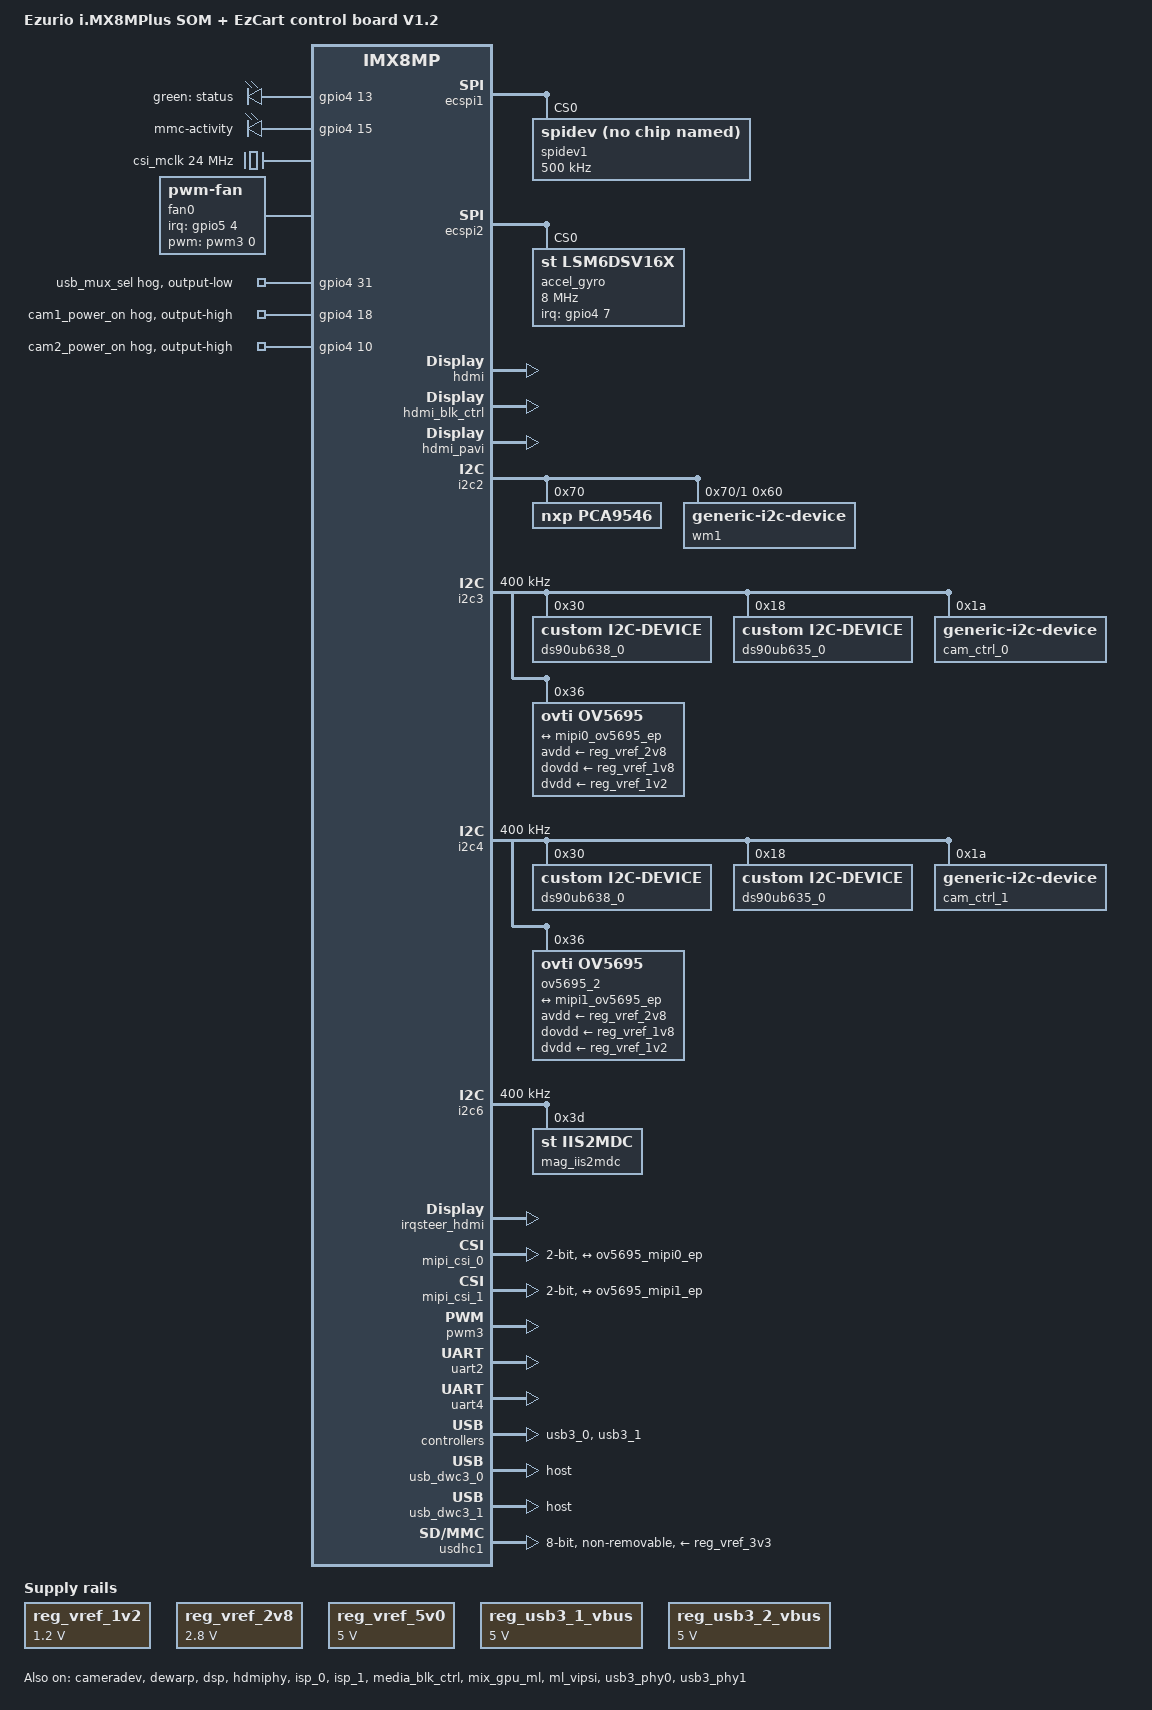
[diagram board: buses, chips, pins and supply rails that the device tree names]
// SPDX-License-Identifier: (GPL-2.0+ OR MIT)
/*
 * Device Tree file for Boundary Devices Nitrogen8MP SOM
 * installed on Cartzy Control Board V2.0 (EzCart V1.0)
 *
 * @author Nikita Bulaev agency@grovety.com
 */

/dts-v1/;

#include <dt-bindings/interconnect/ti,ds90ub635.h>
#include <dt-bindings/interconnect/ti,ds90ub638.h>

#include <dt-bindings/phy/phy-imx8-pcie.h>
#include <dt-bindings/pwm/pwm.h>
#include <dt-bindings/usb/pd.h>
#include "imx8mp-nitrogen8mp-som.dtsi"

&iomuxc {
	pinctrl-names = "default";
	pinctrl-0 = <&pinctrl_hog>;

	pinctrl_gpio_led: gpioledgrp {
		fsl,pins = <
		/* These pins controled by gpio-leds */
		MX8MP_IOMUXC_SAI1_TXD1__GPIO4_IO13    0x140 /* GREEN CPU LED1 */
		MX8MP_IOMUXC_SAI1_TXD3__GPIO4_IO15	  0x140 /* RED CPU LED3 */

		/* These pins controled by gpio-keys */
#define GP_CPU_LED_BLUE	<&gpio4 14 GPIO_ACTIVE_HIGH>
		MX8MP_IOMUXC_SAI1_TXD2__GPIO4_IO14	  0x100 /* Blue CPU LED2 */
		>;
	};

	pinctrl_ecspi1: ecspi1grp {
		fsl,pins = <
			MX8MP_IOMUXC_ECSPI1_SCLK__ECSPI1_SCLK	0x140
			MX8MP_IOMUXC_ECSPI1_MOSI__ECSPI1_MOSI	0x140
			MX8MP_IOMUXC_ECSPI1_MISO__ECSPI1_MISO	0x140
#define GP_ECSPI1_CS	<&gpio5 9 GPIO_ACTIVE_LOW>
			MX8MP_IOMUXC_ECSPI1_SS0__GPIO5_IO09	0x143
		>;
	};

	pinctrl_ecspi2: ecspi2grp {
		fsl,pins = <
			/* J31 */
			MX8MP_IOMUXC_ECSPI2_SCLK__ECSPI2_SCLK		0x82	/* Pin 20 */
			MX8MP_IOMUXC_ECSPI2_MOSI__ECSPI2_MOSI		0x82	/* Pin 10 */
			MX8MP_IOMUXC_ECSPI2_MISO__ECSPI2_MISO		0x82	/* Pin 8 */
#define GP_ECSPI2_CS	<&gpio5 13 GPIO_ACTIVE_LOW>
			MX8MP_IOMUXC_ECSPI2_SS0__GPIO5_IO13		0x143	/* Pin 6 */
#define GP_LSM6DSV_INT1	<&gpio4 7 GPIO_ACTIVE_HIGH>
			MX8MP_IOMUXC_SAI1_RXD5__GPIO4_IO07		0x80	/* LSM6DSV INT1 */
#define GP_LSM6DSV_INT2	<&gpio4 8 GPIO_ACTIVE_HIGH>
			MX8MP_IOMUXC_SAI1_RXD6__GPIO4_IO08		0x80	/* LSM6DSV INT2 */
		>;
	};

	pinctrl_hog: hoggrp {
		fsl,pins = <
			MX8MP_IOMUXC_HDMI_DDC_SCL__HDMIMIX_HDMI_SCL	0x400001c3
			MX8MP_IOMUXC_HDMI_DDC_SDA__HDMIMIX_HDMI_SDA	0x400001c3
			MX8MP_IOMUXC_HDMI_HPD__HDMIMIX_HDMI_HPD		0x40000019
			MX8MP_IOMUXC_HDMI_CEC__HDMIMIX_HDMI_CEC		0x40000019
			MX8MP_IOMUXC_NAND_DATA01__GPIO3_IO07		0x119
			/* J31 */
			MX8MP_IOMUXC_SPDIF_EXT_CLK__GPIO5_IO05	0x41	/* Pin 19 */
			MX8MP_IOMUXC_SAI1_MCLK__GPIO4_IO20		0x16	/* Pin 2 */
			/*MX8MP_IOMUXC_SAI1_TXD7__GPIO4_IO19		0x1c4*/	/* Pin 4 */

#define WM_RESET_CTRL	<&gpio4 16 GPIO_ACTIVE_HIGH>
			MX8MP_IOMUXC_SAI1_TXD4__GPIO4_IO16	0x100

#define CAM1_POWER_ON	<&gpio4 18 GPIO_ACTIVE_HIGH>
			MX8MP_IOMUXC_SAI1_TXD6__GPIO4_IO18	0x106

#define CAM2_POWER_ON	<&gpio4 10 GPIO_ACTIVE_HIGH>
			MX8MP_IOMUXC_SAI1_TXFS__GPIO4_IO10	0x106
		>;
	};

	pinctrl_pwm3: pwm3grp {
		fsl,pins = <
			/* J5_55, Fan PWM speed control */
			MX8MP_IOMUXC_SPDIF_TX__PWM3_OUT	0x116
		>;
	};

	pinctrl_fan_tach: fantachgrp {
		fsl,pins = <
			/* J5_57, Fan tachometer input, pull-up, IRQ */
			MX8MP_IOMUXC_SPDIF_RX__GPIO5_IO04	0x80
		>;
	};

	pinctrl_i2c6: i2c6grp {
		fsl,pins = <
			MX8MP_IOMUXC_SAI5_RXFS__I2C6_SCL  0x400001c3
			MX8MP_IOMUXC_SAI5_RXC__I2C6_SDA	  0x400001c3
		>;
	};

	pinctrl_pwm4: pwm4grp {
		fsl,pins = <
			/* J31, pin 36 - SAI5_RXFS reassigned to I2C6 */
		>;
	};

	pinctrl_usb3_1: usb3-1-pins {
		fsl,pins = <
		/* USB3_1_PWR_EN: output, pull-up (drives U10 EN on the carrier) */
#define USB3_1_PWR_EN	<&gpio4 30 GPIO_ACTIVE_HIGH>
			MX8MP_IOMUXC_SAI3_RXD__GPIO4_IO30	0x106

		/* USB3_1_FAULT: input, pulled up by external resistor, falling-edge */
#define USB3_1_FAULT	<&gpio4 29 IRQ_TYPE_LEVEL_LOW>
		MX8MP_IOMUXC_SAI3_RXC__GPIO4_IO29	0x006

		/* USB2.0 MUX select (TS3USB221A): LOW = host path to J15.1
		 * (D <-> 1D), HIGH = USB-boot path to J3 (D <-> 2D). Held LOW
		 * by a gpio-hog under &gpio4.
		 */
#define USB_MUX_SEL	<&gpio4 31 GPIO_ACTIVE_HIGH>
		MX8MP_IOMUXC_SAI3_TXFS__GPIO4_IO31	0x106

		/* Force pad into GPIO mode (ALT0). On this board the same pad
		 * is wired to the camera deserializer (CAM1_GPIO2). If left in
		 * the ALT1=USB1_OC routing inherited from boot defaults, the
		 * controller latches a spurious over-current condition shortly
		 * after probe and locks both root-hub ports of usb_dwc3_0.
		 * The TOF pinctrl group sets the same alt but is applied too
		 * late (after xHCI init); applying it here forces it early.
		 */
		MX8MP_IOMUXC_GPIO1_IO13__GPIO1_IO13	0x106
		>;
	};

	pinctrl_usb3_2: usb3-2-pins {
		fsl,pins = <
		/* USB3_2_PWR_EN: output, pull-up (drives U12 EN on the carrier) */
#define USB3_2_PWR_EN	<&gpio1 9 GPIO_ACTIVE_HIGH>
			MX8MP_IOMUXC_GPIO1_IO09__GPIO1_IO09	0x106

		/* USB3_2_FAULT: input, pulled up by external resistor, falling-edge */
#define USB3_2_FAULT	<&gpio4 19 IRQ_TYPE_LEVEL_LOW>
		MX8MP_IOMUXC_SAI1_TXD7__GPIO4_IO19	0x006

		/* Force pad into GPIO mode (ALT0). Same pad is wired to the
		 * camera deserializer LOCK signal (CAM1_LOCK); leaving it in
		 * the ALT1=USB2_OC routing would feed deserializer transitions
		 * into the USB OC input and trip the controller.
		 */
		MX8MP_IOMUXC_GPIO1_IO15__GPIO1_IO15	0x106
		>;
	};

	pinctrl_uart2: uart2grp {
		fsl,pins = <
			MX8MP_IOMUXC_UART2_RXD__UART2_DCE_RX	0x140
			MX8MP_IOMUXC_UART2_TXD__UART2_DCE_TX	0x140
		>;
	};

	pinctrl_uart4: uart4grp {
		fsl,pins = <
			MX8MP_IOMUXC_UART4_RXD__UART4_DCE_RX	0x140
			MX8MP_IOMUXC_UART4_TXD__UART4_DCE_TX	0x140
		>;
	};

	pinctrl_usdhc1: usdhc1grp {
		fsl,pins = <
		MX8MP_IOMUXC_SD1_CLK__USDHC1_CLK    0x190
		MX8MP_IOMUXC_SD1_CMD__USDHC1_CMD    0x1d0
		MX8MP_IOMUXC_SD1_DATA0__USDHC1_DATA0    0x1d0
		MX8MP_IOMUXC_SD1_DATA1__USDHC1_DATA1    0x1d0
		MX8MP_IOMUXC_SD1_DATA2__USDHC1_DATA2    0x1d0
		MX8MP_IOMUXC_SD1_DATA3__USDHC1_DATA3    0x1d0
		MX8MP_IOMUXC_SD1_DATA4__USDHC1_DATA4    0x1d0
		MX8MP_IOMUXC_SD1_DATA5__USDHC1_DATA5    0x1d0
		MX8MP_IOMUXC_SD1_DATA6__USDHC1_DATA6    0x1d0
		MX8MP_IOMUXC_SD1_DATA7__USDHC1_DATA7    0x1d0
		/*MX8MP_IOMUXC_GPIO1_IO03__USDHC1_VSELECT    0x116*/
		MX8MP_IOMUXC_SD1_STROBE__USDHC1_STROBE    0x10
		MX8MP_IOMUXC_SD1_RESET_B__USDHC1_RESET_B 0x140
		>;
	};

	pinctrl_usdhc1_100mhz: usdhc1grp-100mhz {
		fsl,pins = <
		MX8MP_IOMUXC_SD1_CLK__USDHC1_CLK    0x194
		MX8MP_IOMUXC_SD1_CMD__USDHC1_CMD    0x1d4
		MX8MP_IOMUXC_SD1_DATA0__USDHC1_DATA0    0x1d4
		MX8MP_IOMUXC_SD1_DATA1__USDHC1_DATA1    0x1d4
		MX8MP_IOMUXC_SD1_DATA2__USDHC1_DATA2    0x1d4
		MX8MP_IOMUXC_SD1_DATA3__USDHC1_DATA3    0x1d4
		MX8MP_IOMUXC_SD1_DATA4__USDHC1_DATA4    0x1d4
		MX8MP_IOMUXC_SD1_DATA5__USDHC1_DATA5    0x1d4
		MX8MP_IOMUXC_SD1_DATA6__USDHC1_DATA6    0x1d4
		MX8MP_IOMUXC_SD1_DATA7__USDHC1_DATA7    0x1d4
		MX8MP_IOMUXC_SD1_STROBE__USDHC1_STROBE  0x14
		>;
	};

	pinctrl_usdhc1_200mhz: usdhc1grp-200mhz {
		fsl,pins = <
		MX8MP_IOMUXC_SD1_CLK__USDHC1_CLK    0x196
		MX8MP_IOMUXC_SD1_CMD__USDHC1_CMD    0x1d6
		MX8MP_IOMUXC_SD1_DATA0__USDHC1_DATA0    0x1d6
		MX8MP_IOMUXC_SD1_DATA1__USDHC1_DATA1    0x1d6
		MX8MP_IOMUXC_SD1_DATA2__USDHC1_DATA2    0x1d6
		MX8MP_IOMUXC_SD1_DATA3__USDHC1_DATA3    0x1d6
		MX8MP_IOMUXC_SD1_DATA4__USDHC1_DATA4    0x1d6
		MX8MP_IOMUXC_SD1_DATA5__USDHC1_DATA5    0x1d6
		MX8MP_IOMUXC_SD1_DATA6__USDHC1_DATA6    0x1d6
		MX8MP_IOMUXC_SD1_DATA7__USDHC1_DATA7    0x1d6
		MX8MP_IOMUXC_SD1_STROBE__USDHC1_STROBE  0x12
		>;
	};

	/* GPIO pins for camera #1 */
	pinctrl_i2c3_ov5695_mipi: i2c3-ov5695-mipigrp {
		/* Camera 1 RESET GPIO3 */
		cam1_reset_open_drain: cam1_reset_open_drain {
			fsl,pins = <
#define GP_CAMERA1_RESET    <&gpio1 7 (GPIO_ACTIVE_HIGH | GPIO_OPEN_DRAIN)>
			MX8MP_IOMUXC_GPIO1_IO07__GPIO1_IO07    0x030 /* OpenDrain output */
			>;
        	drive-open-source; /* Also force open source */
    	};
	};

	/* GPIO pins for camera #2 */
	pinctrl_i2c4_ov5695_mipi: i2c4-ov5695-mipigrp {
	/* Camera 2 RESET GPIO3 */
		cam2_reset_open_drain: cam2_reset_open_drain {
			fsl,pins = <
#define GP_CAMERA2_RESET    <&gpio1 14 (GPIO_ACTIVE_HIGH | GPIO_OPEN_DRAIN)>
			MX8MP_IOMUXC_GPIO1_IO14__GPIO1_IO14    0x030 /* OpenDrain output */
			>;
			drive-open-source; /* Also force open source */
		};
	};

	pinctrl_ds90ub638_1: ds90ub638_grp_1 {
		fsl,pins = <
#define DS90UB638_1_LOCK    <&gpio1 15 IRQ_TYPE_LEVEL_HIGH>
		MX8MP_IOMUXC_GPIO1_IO15__GPIO1_IO15    0x106

#define DS90UB638_1_PASS    <&gpio1 11 IRQ_TYPE_LEVEL_HIGH>
		MX8MP_IOMUXC_GPIO1_IO11__GPIO1_IO11    0x106
		>;
	};

	pinctrl_ds90ub638_2: ds90ub638_grp_2 {
		fsl,pins = <
#define DS90UB638_2_LOCK    <&gpio1 1 IRQ_TYPE_LEVEL_HIGH>
		MX8MP_IOMUXC_GPIO1_IO01__GPIO1_IO01    0x106

#define DS90UB638_2_PASS    <&gpio1 12 IRQ_TYPE_LEVEL_HIGH>
		MX8MP_IOMUXC_GPIO1_IO12__GPIO1_IO12    0x106
		>;
	};

	pinctrl_i2c3_tof: i2c3_tofgrp {
		fsl,pins = <
		/* TOF 1/2 INT - Input, trigger on falling GPIO0 */
#define GP_TOF_DATA_RDY_1_2	<&gpio1 4 IRQ_TYPE_LEVEL_LOW>
		MX8MP_IOMUXC_GPIO1_IO04__GPIO1_IO04	0x166

		/* TOF 1/2 MD INT - Input, trigger on falling GPIO1 */
#define GP_TOF_MD1	<&gpio1 10 IRQ_TYPE_LEVEL_LOW>
		MX8MP_IOMUXC_GPIO1_IO10__GPIO1_IO10	0x166

		/* TOF 1/2 SYNC GPIO2 */
#define GP_TOF_SYNC1  <&gpio1 13 GPIO_ACTIVE_HIGH>
		MX8MP_IOMUXC_GPIO1_IO13__GPIO1_IO13	0x106
		>;
	};

	pinctrl_i2c4_tof: i2c4_tofgrp {
		fsl,pins = <
		/* TOF 3/4 INT - Input, trigger on falling GPIO0 */
#define GP_TOF_DATA_RDY_3_4	<&gpio1 5 IRQ_TYPE_LEVEL_LOW>
		MX8MP_IOMUXC_GPIO1_IO05__GPIO1_IO05	0x166

		/* TOF 3/4 MD GPIO1 */
#define GP_TOF_MD2	<&gpio1 6 IRQ_TYPE_LEVEL_LOW>
		MX8MP_IOMUXC_GPIO1_IO06__GPIO1_IO06	0x166

		/* TOF 3 SYNC GPIO2 */
#define GP_TOF_SYNC2	<&gpio1 8 GPIO_ACTIVE_HIGH>
		MX8MP_IOMUXC_GPIO1_IO08__GPIO1_IO08	0x106
		>;
	};

	/* GPIOS P2 header */
	pinctrl_gpios_p2: gpios_p2grp {
		/* All pins are set to OUTPUT Pull-Down */
		fsl,pins = <
#define GPIOS_P2_PIN1 <&gpio4 27 GPIO_ACTIVE_HIGH>
		MX8MP_IOMUXC_SAI2_MCLK__GPIO4_IO27 0x106

#define GPIOS_P2_PIN2 <&gpio4 22 GPIO_ACTIVE_HIGH>
		MX8MP_IOMUXC_SAI2_RXC__GPIO4_IO22 0x106

#define GPIOS_P2_PIN3 <&gpio4 23 GPIO_ACTIVE_HIGH>
		MX8MP_IOMUXC_SAI2_RXD0__GPIO4_IO23 0x106

#define GPIOS_P2_PIN4 <&gpio4 26 GPIO_ACTIVE_HIGH>
		MX8MP_IOMUXC_SAI2_TXD0__GPIO4_IO26 0x106

#define GPIOS_P2_PIN5 <&gpio4 25 GPIO_ACTIVE_HIGH>
		MX8MP_IOMUXC_SAI2_TXC__GPIO4_IO25 0x106

#define GPIOS_P2_PIN6 <&gpio4 21 GPIO_ACTIVE_HIGH>
		MX8MP_IOMUXC_SAI2_RXFS__GPIO4_IO21 0x106

#define GPIOS_P2_PIN7 <&gpio4 28 GPIO_ACTIVE_HIGH>
		MX8MP_IOMUXC_SAI3_RXFS__GPIO4_IO28 0x106

#define GPIOS_P2_PIN8 <&gpio4 24 GPIO_ACTIVE_HIGH>
		MX8MP_IOMUXC_SAI2_TXFS__GPIO4_IO24 0x106
		>;
	};
};

/ {
	model = "Ezurio i.MX8MPlus SOM + EzCart control board V1.2";
	compatible = "fsl,imx8mp-custom-board", "boundary,imx8mp-nitrogen8mp", "fsl,imx8mp";

	chosen {
		stdout-path = &uart2;
	};

	gpio-leds {
		compatible = "gpio-leds";
		pinctrl-names = "default";
		pinctrl-0 = <&pinctrl_gpio_led>;

		status {
			label = "green: status";
			gpios = <&gpio4 13 GPIO_ACTIVE_HIGH>;
			default-state = "on";
			linux,default-trigger = "heartbeat";
		};

		activity_led {
			label = "mmc-activity";
			gpios = <&gpio4 15 GPIO_ACTIVE_HIGH>;
			linux,default-trigger = "mmc2";
		};
	};

	gpio_keys: gpio-keys {
		compatible = "gpio-keys";
		pinctrl-names = "default";
	};

	sound_hdmi: sound-hdmi {
		compatible = "fsl,imx-audio-hdmi";
		model = "audio-hdmi";
		audio-cpu = <&aud2htx>;
		hdmi-out;
		constraint-rate = <44100>,
				<88200>,
				<176400>,
				<32000>,
				<48000>,
				<96000>,
				<192000>;
		status = "disabled";
	};

	sound-wm8960 {
		status = "disabled";
	};

	csi_mclk: csi-mclk {
		compatible = "fixed-clock";
		#clock-cells = <0>;
		clock-frequency = <24000000>;
		clock-output-names = "csi_mclk";
		status = "okay";
	};

	reg_vref_1v2: regulator-vref-1v2 {
		compatible = "regulator-fixed";
		regulator-name = "vref-1v2";
		regulator-min-microvolt = <1200000>;
		regulator-max-microvolt = <1200000>;
	};

	reg_vref_2v8: regulator-vref-2v8 {
		compatible = "regulator-fixed";
		regulator-name = "vref-2v8";
		regulator-min-microvolt = <2800000>;
		regulator-max-microvolt = <2800000>;
	};

	reg_vref_5v0: regulator-vref-5v0 {
		compatible = "regulator-fixed";
		regulator-name = "vref-5v0";
		regulator-min-microvolt = <5000000>;
		regulator-max-microvolt = <5000000>;
	};

	reg_usb3_1_vbus: regulator-usb3_1-vbus {
		compatible = "regulator-fixed";
		regulator-name = "usb3_1_vbus";
		regulator-min-microvolt = <5000000>;
		regulator-max-microvolt = <5000000>;
		gpio = USB3_1_PWR_EN;
		enable-active-high;
		regulator-always-on;
	};

	reg_usb3_2_vbus: regulator-usb3_2-vbus {
		compatible = "regulator-fixed";
		regulator-name = "usb3_2_vbus";
		regulator-min-microvolt = <5000000>;
		regulator-max-microvolt = <5000000>;
		gpio = USB3_2_PWR_EN;
		enable-active-high;
		regulator-always-on;
	};

	fan0: pwm-fan {
		compatible = "pwm-fan";
		pinctrl-names = "default";
		pinctrl-0 = <&pinctrl_fan_tach>;
		#cooling-cells = <2>;
		/* 25 kHz PWM for 4-pin CPU fan */
		pwms = <&pwm3 0 40000 PWM_POLARITY_INVERTED>;
		cooling-levels = <0 64 128 192 255>;
		pulses-per-revolution = <2>;
		interrupt-parent = <&gpio5>;
		interrupts = <4 IRQ_TYPE_EDGE_FALLING>;
		status = "okay";
	};
};

&aud2htx {
	status = "disabled";
};

&cameradev {
	status = "okay";
};

&isi_0 {
	status = "disabled";

	m2m_device {
		status = "disabled";
	};
};

&isi_1 {
	status = "disabled";
};

&dewarp {
	status = "okay";
};

&dsp {
	status = "okay";
};

&easrc {
	status = "disabled";
};

&ecspi1 {
	#address-cells = <1>;
	#size-cells = <0>;
	fsl,spi-num-chipselects = <1>;
	pinctrl-names = "default";
	pinctrl-0 = <&pinctrl_ecspi1>;
	cs-gpios = GP_ECSPI1_CS;
	status = "okay";

	spidev1: spi@0 {
		compatible = "spidev";
		reg = <0>;
		spi-max-frequency = <500000>;
	};
};

&ecspi2 {
	#address-cells = <1>;
	#size-cells = <0>;
	fsl,spi-num-chipselects = <1>;
	pinctrl-names = "default";
	pinctrl-0 = <&pinctrl_ecspi2>;
	cs-gpios = GP_ECSPI2_CS;
	status = "okay";

	accel_gyro@0 {
		compatible = "st,lsm6dsv16x", "st,lsm6dsv";
		reg = <0>;
		spi-max-frequency = <8000000>;
		interrupt-parent = <&gpio4>;
		interrupts = <7 IRQ_TYPE_LEVEL_HIGH>, <8 IRQ_TYPE_LEVEL_HIGH>;
		st,drdy-int-pin = <1>;
	};
};

&fec {
	status = "disabled";
};

&eqos {
	status = "disabled";
};

&flexcan1 {
	status = "disabled";
};

&flexcan2 {
	status = "disabled";
};

&hdmi {
	status = "okay";
};

&hdmiphy {
	status = "okay";
};

&hdmi_blk_ctrl {
	status = "okay";
};

&hdmi_pavi {
	status = "okay";
};

&gpio1 {
	gpio-line-names = "",            "CAM2.LOCK",    "WDOG",         "",           /* 0-3 */
					  "TOF.1-2.RDY", "TOF.3-4.RDY",  "TOF.3-4.MD",  "CAM1.RST",    /* 4-7 */
					  "TOF.3-4.SYNC","USB2.PWR.EN",  "TOF.1-2.MD",  "CAM1.PASS",   /* 8-11 */
					  "CAM2.PASS",   "TOF.1-2.SYNC", "CAM2.RST",    "CAM1.LOCK",   /* 12-15 */
					  "",            "",             "",             "",           /* 16-19 */
					  "",            "",             "",             "",           /* 20-23 */
					  "",            "",             "",             "",           /* 24-27 */
					  "",            "",             "",             "",           /* 28-31 */
					  "",            "",             "",             "";           /* 32-35 */
};

&gpio3 {
	gpio-line-names = "",         "",         "",             "",             /* 0-3 */
					  "",         "",         "",             "",             /* 4-7 */
					  "",         "",         "",             "",             /* 8-11 */
					  "",         "",         "",             "",             /* 12-15 */
					  "",         "",         "",             "I2C6.SCL",     /* 16-19 */
					  "I2C6.SDA", "",         "",             "",             /* 20-23 */
					  "",         "",         "HDMI.DDC.SCL", "HDMI.DDC.SDA", /* 24-27 */
					  "HDMI.CEC", "HDMI.HPD", "",             "",             /* 28-31 */
					  "",         "",         "",             "";             /* 32-35 */
};

&gpio4 {
	gpio-line-names = "",          "",              "",             "",            /* 0-3 */
					  "",          "",              "",             "ACC.INT1",    /* 4-7 */
					  "ACC.INT2",  "",              "CAM2.PWR.ON",  "",            /* 8-11 */
					  "BAT.RESET", "CPU.LED.GREEN", "CPU.LED.BLUE", "CPU.LED.RED", /* 12-15 */
					  "WM.RESET",  "WM.INT",        "CAM1.PWR.ON",  "USB2.FAULT",  /* 16-19 */
					  "",          "P2.PIN6",       "P2.PIN2",      "P2.PIN3",     /* 20-23 */
					  "P2.PIN8",   "P2.PIN5",       "P2.PIN4",      "P2.PIN1",     /* 24-27 */
					  "P2.PIN7",   "USB1.FAULT",    "USB1.PWR_EN",  "USB.MUX.SEL", /* 28-31 */
					  "",          "",              "",             "";            /* 32-35 */

	usb_mux_sel {
		gpio-hog;
		gpios = <31 GPIO_ACTIVE_HIGH>;
		output-low;
		line-name = "usb_mux_sel";
	};

	cam1_power_on {
		gpio-hog;
		gpios = <18 GPIO_ACTIVE_HIGH>;
		output-high;
		line-name = "cam1_power_on";
	};

	cam2_power_on {
		gpio-hog;
		gpios = <10 GPIO_ACTIVE_HIGH>;
		output-high;
		line-name = "cam2_power_on";
	};
};

&gpio5 {
	gpio-line-names = "",          "",         "",          "",          /* 0-3 */
					  "FAN_TACH",  "",         "SPI1.SCLK", "SPI1.MOSI", /* 4-7 */
					  "SPI1.MISO", "SPI1.CS0", "SPI2.SCLK", "SPI2.MOSI", /* 8-11 */
					  "SPI2.MISO", "SPI2.CS0", "I2C1.SCL",  "I2C1.SDA",  /* 12-15 */
					  "I2C2.SCL",  "I2C2.SDA", "I2C3.SCL",  "I2C3.SDA",  /* 16-19 */
					  "I2C4.SCL",  "I2C4.SDA", "",          "",          /* 20-23 */
					  "UART2.RX",  "UART2.TX", "",          "",          /* 24-27 */
					  "UART4.RX",  "UART4.TX", "",          "",          /* 28-31 */
					  "",          "",         "",          "";          /* 32-35 */
};

&i2c2 {
	pca9546: i2cmux9546@70 {
		// pinctrl-names = "default";
		// pinctrl-0 = <&pinctrl_i2c2_pca9546>;
		compatible = "nxp,pca9546";
		reg = <0x70>;
		// reset-gpios = GP_PCA9546_RESET;
		#address-cells = <1>;
		#size-cells = <0>;

		i2c2a: i2c2@0 {
			clock-frequency = <100000>;
			reg = <0>;
			#address-cells = <1>;
			#size-cells = <0>;

			/* Battery module I2C */
		};

		i2c2b: i2c2@1 {
			clock-frequency = <100000>;
			reg = <1>;
			#address-cells = <1>;
			#size-cells = <0>;

			/* Weight module #1 I2C  */
			wm1@60 {
				compatible = "generic-i2c-device";
				reg = <0x60>;
			};
		};

		i2c2c: i2c2@2 {
			clock-frequency = <100000>;
			reg = <2>;
			#address-cells = <1>;
			#size-cells = <0>;

			/* Nothing connected in v1.2 */
		};

		i2c2d: i2c2@3 {
			clock-frequency = <100000>;
			reg = <3>;
			#address-cells = <1>;
			#size-cells = <0>;

			/* Display I2C channel */
		};
	};
};

&i2c2a {
	status = "disabled";
};

&i2c2b {
	status = "okay";
};

&i2c2c {
	status = "disabled";
};

&i2c2d {
	status = "okay";
};

&i2c3 {
	status = "okay";
	clock-frequency = <400000>;
	pinctrl-names = "default";

	/* DS90UB638 deserializer */
	ds90ub638_0@30 {
		compatible = "custom,i2c-device";
		reg = <0x30>;
		#address-cells = <1>;
		#size-cells = <0>;

		pinctrl-0 = <&pinctrl_ds90ub638_1>;

		init-regs {
			reg@0 {
				address = <TI_DS90UB638_RX_PORT_CTL_REG>;
				mask = <TI_DS90UB638_RX_PORT_CTL_STARTUP_BIT_MASK>;
				value = <TI_DS90UB638_RX_PORT_CTL_STARTUP_BIT_SET>;
				operation = "setbits";
			};
			reg@1 {
				address = <TI_DS90UB638_FWD_CTL2_REG>;
				mask = <TI_DS90UB638_FWD_CTL2_FWD_SYNC_AS_AVAIL_MASK>;
				value = <TI_DS90UB638_FWD_CTL2_FWD_SYNC_AS_AVAIL>;
				operation = "setbits";
			};
			reg@2 {
				address = <TI_DS90UB638_GENERAL_CFG_REG>;
				value = <(TI_DS90UB638_GENERAL_CFG_I2C_CONTROLLER_ENABLE |
				TI_DS90UB638_GENERAL_CFG_OUTPUT_EN_MODE |
				TI_DS90UB638_GENERAL_CFG_OUTPUT_ENABLE |
				TI_DS90UB638_GENERAL_CFG_OUTPUT_SLEEP_STATE_SELECT |
				TI_DS90UB638_GENERAL_CFG_RX_PARITY_CHECKER_ENABLE)>;
				operation = "overwrite";
			};
			reg@3 {
				address = <TI_DS90UB638_FPD3_PORT_SEL_REG>;
				value = <TI_DS90UB638_FPD3_PORT_SEL_RX_WRITE_PORT_0_EN>;
				operation = "overwrite";
			};
			reg@4 {
				address = <TI_DS90UB638_BCC_CONFIG_REG>;
				value = <(TI_DS90UB638_BCC_CONFIG_I2C_PASS_THROUGH_ALL_EN |
				TI_DS90UB638_BCC_CONFIG_BC_ALWAYS_ON_EN |
				TI_DS90UB638_BCC_CONFIG_BC_CRC_GENERATOR_ENABLE_EN|
				TI_DS90UB638_BCC_CONFIG_BC_FREQ_SELECT_50MBPS)>;
				operation = "overwrite";
			};
			reg@5 {
				address = <TI_DS90UB638_FWD_CTL1_REG>;
				mask = <TI_DS90UB638_FWD_CTL1_FWD_PORT0_MASK>;
				value = <TI_DS90UB638_FWD_CTL1_FWD_PORT0_EN>;
				operation = "setbits";
			};
			reg@6 {
				// Turn on GPIOs transfer
				address = <TI_DS90UB638_DATAPATH_CTL1_REG>;
				value = <TI_DS90UB638_DATAPATH_CTL1_FC_GPIO_EN_TWO>;
				operation = "overwrite";
			};
			reg@7 {
				// GPIO1/3 - Inputs, this reg must me set first
				address = <TI_DS90UB638_GPIO_INPUT_CTL_REG>;
				value = <(TI_DS90UB638_GPIO_INPUT_CTL_GPIO2_EN |
				TI_DS90UB638_GPIO_INPUT_CTL_GPIO3_EN)>;
				operation = "overwrite";
			};
			reg@8 {
				// Turn off PullDown on Opendrain gpio1 7
				address = <TI_DS90UB638_GPIO_PD_CTL_REG>;
				value = <TI_DS90UB638_GPIO_PD_CTL_GPIO3_PD_DISABLE>;
				operation = "overwrite";
			};
			reg@9 {
				// GPIO0 - Output (ToFs 1/2 DATA_RDY)
				address = <TI_DS90UB638_GPIO0_PIN_CTL_REG>;
				value = <(TI_DS90UB638_GPIOx_PIN_CTL_OUT_EN | TI_DS90UB638_GPIOx_PIN_CTL_OUT_SEL_RX_GPIO0)>;
				operation = "overwrite";
			};
			reg@10 {
				// GPIO1 - Output (ToFs 1/2 MD)
				address = <TI_DS90UB638_GPIO1_PIN_CTL_REG>;
				value = <(TI_DS90UB638_GPIOx_PIN_CTL_OUT_EN | TI_DS90UB638_GPIOx_PIN_CTL_OUT_SEL_RX_GPIO1)>;
				operation = "overwrite";
			};
			reg@11 {
				// GPIO2 - Output (ToFs 1/2 SYNC)
				address = <TI_DS90UB638_GPIO2_PIN_CTL_REG>;
				value = <TI_DS90UB638_GPIOx_PIN_CTL_OUT_DISABLE>;
				operation = "overwrite";
			};
			reg@12 {
				// GPIO3 - Input (Camera Reset)
				address = <TI_DS90UB638_GPIO3_PIN_CTL_REG>;
				value = <TI_DS90UB638_GPIOx_PIN_CTL_OUT_DISABLE>;
				operation = "overwrite";
			};
			reg@13 {
				// GPIO1 - DOWN. GPIO0 - DOWN
				address = <TI_DS90UB638_BC_GPIO_CTL0_REG>;
				value = <(TI_DS90UB638_BC_GPIO_GPIO1_SEL_VAL0 | TI_DS90UB638_BC_GPIO_GPIO0_SEL_VAL0)>;
				operation = "overwrite";
			};
			reg@14 {
				// GPIO2/GPIO3 - data sent on the port back channel
				// WARNING: GPIO3 has bug on current board, so set Camera reset to HIGH always.
				// FIX: Fix this in next hardware revision.
				address = <TI_DS90UB638_BC_GPIO_CTL1_REG>;
				value = <(TI_DS90UB638_BC_GPIO_GPIO3_SEL_VAL1 | TI_DS90UB638_BC_GPIO_GPIO2_SEL_GPIO2)>;
				operation = "overwrite";
			};
			reg@15 {
				// Turn on CSI and setup 2-lanes
				address = <TI_DS90UB638_CSI_CTL_REG>;
				value = <(TI_DS90UB638_CSI_CTL_CSI_LANE_COUNT_2 | TI_DS90UB638_CSI_CTL_CSI_EN)>;
				operation = "overwrite";
			};
		};
	};

	/* DS90UB635 serializer */
	ds90ub635_0@18 {
		compatible = "custom,i2c-device";
		reg = <0x18>;
		#address-cells = <1>;
		#size-cells = <0>;

		// Wait for ready flag from deserializer
		ready-flag-wait = "/sys/bus/i2c/devices/2-0030/ready_flag";

		init-regs {
			reg@0 {
				address = <TI_DS90UB635_GENERAL_CFG_REG>;
				value = <(TI_DS90UB635_GENERAL_CFG_CSI_SEL_2_LANE |
				TI_DS90UB635_GENERAL_CFG_CRC_TX_GEN_ENABLE |
				TI_DS90UB635_GENERAL_CFG_I2C_STRAP_MODE_1V8)>;
				operation = "overwrite";
			};
			reg@1 {
				// GPIO0 - Input (ToFs DATA_RDY), GPIO1 - Output (ToFs SYNC), GPIO2 - Input (ToFs MD), GPIO3 - Output (Camera Reset)
				address = <TI_DS90UB635_GPIO_INPUT_CTRL_REG>;
				value = <(TI_DS90UB635_GPIO_INPUT_CTRL_GPIO0_IN_EN |
				TI_DS90UB635_GPIO_INPUT_CTRL_GPIO1_IN_EN |
				TI_DS90UB635_GPIO_INPUT_CTRL_GPIO2_OUT_EN |
				TI_DS90UB635_GPIO_INPUT_CTRL_GPIO3_OUT_EN)>;
				operation = "overwrite";
			};
			reg@2 {
				address = <TI_DS90UB635_LOCAL_GPIO_DATA_REG>;
				value = <(TI_DS90UB635_LOCAL_GPIO_DATA_RMTEN_GPIO3 | TI_DS90UB635_LOCAL_GPIO_DATA_RMTEN_GPIO2)>;
				operation = "overwrite";
			};
			reg@3 {
				// Turn on GPIOs transfer
				address = <TI_DS90UB635_DATAPATH_CTL1_REG>;
				value = <(TI_DS90UB635_DATAPATH_CTL1_DCA_CRC_EN | TI_DS90UB635_DATAPATH_CTL1_FC_GPIO_EN_TWO)>;
				operation = "overwrite";
			};
		};
	};

	/* Camera module control */
	cam_ctrl_0@1a {
		compatible = "generic-i2c-device";
		reg = <0x1a>;
	};

	ov5695: ov5695_mipi0@36 {
		avdd-supply = <&reg_vref_2v8>;
		dovdd-supply = <&reg_vref_1v8>;
		dvdd-supply = <&reg_vref_1v2>;
		clocks = <&csi_mclk>;
		clock-names = "xvclk";
		compatible = "ovti,ov5695", "ov5695";
		pinctrl-names = "default";
		pinctrl-0 = <&pinctrl_i2c3_ov5695_mipi>;
		reg = <0x36>;
		csi_id = <0>;
		reset-gpios = GP_CAMERA1_RESET;
		status = "okay";

		port {
			ov5695_mipi0_ep: endpoint {
				clock-lanes = <0>;
				data-lanes = <1 2>;
				remote-endpoint = <&mipi0_ov5695_ep>;
				link-frequencies = /bits/ 64 <800000000>;

				max-lane-frequency = /bits/ 64 <800000000>;
				max-pixel-frequency = /bits/ 64 <266000000>;
			};
		};
	};
};

&i2c4 {
	status = "okay";
	clock-frequency = <400000>;
	pinctrl-names = "default";

	/* DS90UB638 deserializer */
	ds90ub638_0@30 {
		compatible = "custom,i2c-device";
		reg = <0x30>;
		#address-cells = <1>;
		#size-cells = <0>;

		pinctrl-0 = <&pinctrl_ds90ub638_2>;

		init-regs {
			reg@0 {
				address = <TI_DS90UB638_RX_PORT_CTL_REG>;
				mask = <TI_DS90UB638_RX_PORT_CTL_STARTUP_BIT_MASK>;
				value = <TI_DS90UB638_RX_PORT_CTL_STARTUP_BIT_SET>;
				operation = "setbits";
			};
			reg@1 {
				address = <TI_DS90UB638_FWD_CTL2_REG>;
				mask = <TI_DS90UB638_FWD_CTL2_FWD_SYNC_AS_AVAIL_MASK>;
				value = <TI_DS90UB638_FWD_CTL2_FWD_SYNC_AS_AVAIL>;
				operation = "setbits";
			};
			reg@2 {
				address = <TI_DS90UB638_GENERAL_CFG_REG>;
				value = <(TI_DS90UB638_GENERAL_CFG_I2C_CONTROLLER_ENABLE |
				TI_DS90UB638_GENERAL_CFG_OUTPUT_EN_MODE |
				TI_DS90UB638_GENERAL_CFG_OUTPUT_ENABLE |
				TI_DS90UB638_GENERAL_CFG_OUTPUT_SLEEP_STATE_SELECT |
				TI_DS90UB638_GENERAL_CFG_RX_PARITY_CHECKER_ENABLE)>;
				operation = "overwrite";
			};
			reg@3 {
				address = <TI_DS90UB638_FPD3_PORT_SEL_REG>;
				value = <TI_DS90UB638_FPD3_PORT_SEL_RX_WRITE_PORT_0_EN>;
				operation = "overwrite";
			};
			reg@4 {
				address = <TI_DS90UB638_BCC_CONFIG_REG>;
				value = <(TI_DS90UB638_BCC_CONFIG_I2C_PASS_THROUGH_ALL_EN |
				TI_DS90UB638_BCC_CONFIG_BC_ALWAYS_ON_EN |
				TI_DS90UB638_BCC_CONFIG_BC_CRC_GENERATOR_ENABLE_EN|
				TI_DS90UB638_BCC_CONFIG_BC_FREQ_SELECT_50MBPS)>;
				operation = "overwrite";
			};
			reg@5 {
				address = <TI_DS90UB638_FWD_CTL1_REG>;
				mask = <TI_DS90UB638_FWD_CTL1_FWD_PORT0_MASK>;
				value = <TI_DS90UB638_FWD_CTL1_FWD_PORT0_EN>;
				operation = "setbits";
			};
			reg@6 {
				// Turn on GPIOs transfer
				address = <TI_DS90UB638_DATAPATH_CTL1_REG>;
				value = <TI_DS90UB638_DATAPATH_CTL1_FC_GPIO_EN_TWO>;
				operation = "overwrite";
			};
			reg@7 {
				// GPIO2/3 - Inputs, this reg must me set first
				address = <TI_DS90UB638_GPIO_INPUT_CTL_REG>;
				value = <(TI_DS90UB638_GPIO_INPUT_CTL_GPIO2_EN |
				TI_DS90UB638_GPIO_INPUT_CTL_GPIO3_EN)>;
				operation = "overwrite";
			};
			reg@8 {
				// Turn off PullDown on Opendrain gpio1 14
				address = <TI_DS90UB638_GPIO_PD_CTL_REG>;
				value = <TI_DS90UB638_GPIO_PD_CTL_GPIO3_PD_DISABLE>;
				operation = "overwrite";
			};
			reg@9 {
				// GPIO0 - Output (ToF 3/4 DATA_RDY)
				address = <TI_DS90UB638_GPIO0_PIN_CTL_REG>;
				value = <(TI_DS90UB638_GPIOx_PIN_CTL_OUT_EN | TI_DS90UB638_GPIOx_PIN_CTL_OUT_SEL_RX_GPIO0)>;
				operation = "overwrite";
			};
			reg@10 {
				// GPIO1 - Output (ToF 3/4 MD)
				address = <TI_DS90UB638_GPIO1_PIN_CTL_REG>;
				value = <(TI_DS90UB638_GPIOx_PIN_CTL_OUT_EN | TI_DS90UB638_GPIOx_PIN_CTL_OUT_SEL_RX_GPIO1)>;
				operation = "overwrite";
			};
			reg@11 {
				// GPIO2 -  Input (ToF 3/4 SYNC)
				address = <TI_DS90UB638_GPIO2_PIN_CTL_REG>;
				value = <TI_DS90UB638_GPIOx_PIN_CTL_OUT_DISABLE>;
				operation = "overwrite";
			};
			reg@12 {
				// GPIO3 - Input (Camera Reset)
				address = <TI_DS90UB638_GPIO3_PIN_CTL_REG>;
				value = <TI_DS90UB638_GPIOx_PIN_CTL_OUT_DISABLE>;
				operation = "overwrite";
			};
			reg@13 {
				// GPIO1 - DOWN. GPIO0 - DOWN
				address = <TI_DS90UB638_BC_GPIO_CTL0_REG>;
				value = <(TI_DS90UB638_BC_GPIO_GPIO1_SEL_VAL0 | TI_DS90UB638_BC_GPIO_GPIO0_SEL_VAL0)>;
				operation = "overwrite";
			};
			reg@14 {
				// GPIO2/GPIO3 - data sent on the port back channel
				// WARNING: GPIO3 has bug on current board, so set Camera reset to HIGH always.
				// FIX: Fix this in next hardware revision.
				address = <TI_DS90UB638_BC_GPIO_CTL1_REG>;
				value = <(TI_DS90UB638_BC_GPIO_GPIO3_SEL_VAL1 | TI_DS90UB638_BC_GPIO_GPIO2_SEL_GPIO2)>;
				operation = "overwrite";
			};
			reg@15 {
				// Turn on CSI and setup 2-lanes
				address = <TI_DS90UB638_CSI_CTL_REG>;
				value = <(TI_DS90UB638_CSI_CTL_CSI_LANE_COUNT_2 | TI_DS90UB638_CSI_CTL_CSI_EN)>;
				operation = "overwrite";
			};
		};
	};

	/* DS90UB635 serializer */
	ds90ub635_0@18 {
		compatible = "custom,i2c-device";
		reg = <0x18>;
		#address-cells = <1>;
		#size-cells = <0>;

		// Wait for ready flag from deserializer
		ready-flag-wait = "/sys/bus/i2c/devices/3-0030/ready_flag";

		init-regs {
			reg@0 {
				address = <TI_DS90UB635_GENERAL_CFG_REG>;
				value = <(TI_DS90UB635_GENERAL_CFG_CSI_SEL_2_LANE |
				TI_DS90UB635_GENERAL_CFG_CRC_TX_GEN_ENABLE |
				TI_DS90UB635_GENERAL_CFG_I2C_STRAP_MODE_1V8)>;
				operation = "overwrite";
			};
			reg@1 {
				// GPIO0 - Input (ToFs DATA_RDY), GPIO1 - Input (ToFs MD), GPIO2 - Output (ToFs SYNC), GPIO3 - Output (Camera Reset)
				address = <TI_DS90UB635_GPIO_INPUT_CTRL_REG>;
				value = <(TI_DS90UB635_GPIO_INPUT_CTRL_GPIO0_IN_EN |
				TI_DS90UB635_GPIO_INPUT_CTRL_GPIO1_IN_EN |
				TI_DS90UB635_GPIO_INPUT_CTRL_GPIO2_OUT_EN |
				TI_DS90UB635_GPIO_INPUT_CTRL_GPIO3_OUT_EN)>;
				operation = "overwrite";
			};
			reg@2 {
				address = <TI_DS90UB635_LOCAL_GPIO_DATA_REG>;
				value = <(TI_DS90UB635_LOCAL_GPIO_DATA_RMTEN_GPIO3 | TI_DS90UB635_LOCAL_GPIO_DATA_RMTEN_GPIO2)>;
				operation = "overwrite";
			};
			reg@3 {
				// Turn on GPIOs transfer
				address = <TI_DS90UB635_DATAPATH_CTL1_REG>;
				value = <(TI_DS90UB635_DATAPATH_CTL1_DCA_CRC_EN | TI_DS90UB635_DATAPATH_CTL1_FC_GPIO_EN_TWO)>;
				operation = "overwrite";
			};
		};
	};

	/* Camera module control */
	cam_ctrl_1@1a {
		compatible = "generic-i2c-device";
		reg = <0x1a>;
	};

	ov5695_2: ov5695_mipi1@36 {
		avdd-supply = <&reg_vref_2v8>;
		dovdd-supply = <&reg_vref_1v8>;
		dvdd-supply = <&reg_vref_1v2>;
		clocks = <&csi_mclk>;
		clock-names = "xvclk";
		compatible = "ovti,ov5695", "ov5695";
		pinctrl-names = "default";
		pinctrl-0 = <&pinctrl_i2c4_ov5695_mipi>;
		reg = <0x36>;
		csi_id = <1>;
		reset-gpios = GP_CAMERA2_RESET;
		status = "okay";

		port {
			ov5695_mipi1_ep: endpoint {
				clock-lanes = <0>;
				data-lanes = <1 2>;
				remote-endpoint = <&mipi1_ov5695_ep>;
				link-frequencies = /bits/ 64 <800000000>;

				max-lane-frequency = /bits/ 64 <800000000>;
				max-pixel-frequency = /bits/ 64 <266000000>;
			};
		};
	};
};

&i2c6 {
	clock-frequency = <400000>;
	pinctrl-names = "default";
	pinctrl-0 = <&pinctrl_i2c6>;
	status = "okay";

	mag_iis2mdc: iis2mdc@3d {
		compatible = "st,iis2mdc";
		reg = <0x3d>;
		#address-cells = <1>;
		#size-cells = <0>;

		status = "okay";
	};
};

&irqsteer_hdmi {
	status = "okay";
};

&isp_0 {
	status = "okay";
};

&isp_1 {
	status = "okay";
};

&micfil {
	status = "disabled";
};

&mipi_csi_0 {
	#address-cells = <1>;
	#size-cells = <0>;
	status = "okay";
	clock-frequency = <266000000>;
	assigned-clock-parents = <&clk IMX8MP_SYS_PLL1_266M>;
	assigned-clock-rates = <266000000>;
	bus-width = <2>;

	port@0 {
		reg = <0>;

		mipi0_ov5695_ep: endpoint {
			remote-endpoint = <&ov5695_mipi0_ep>;
			data-lanes = <2>;
			csis-hs-settle = <13>;
			csis-clk-settle = <2>;
			csis-wclk;
		};
	};
};

&mipi_csi_1 {
	#address-cells = <1>;
	#size-cells = <0>;
	status = "okay";
	clock-frequency = <266000000>;
	assigned-clock-parents = <&clk IMX8MP_SYS_PLL1_266M>;
	assigned-clock-rates = <266000000>;
	bus-width = <2>;

	port@1 {
		reg = <1>;

		mipi1_ov5695_ep: endpoint {
			remote-endpoint = <&ov5695_mipi1_ep>;
			data-lanes = <2>;
			csis-hs-settle = <13>;
			csis-clk-settle = <2>;
			csis-wclk;
		};
	};
};

&media_blk_ctrl {
	status = "okay";
};

&mix_gpu_ml {
	status = "okay";
};

&ml_vipsi {
	status = "okay";
};

&pcie {
	status = "disabled";
};

&pcie_phy {
	status = "disabled";
};

&pwm3 {
	pinctrl-names = "default";
	pinctrl-0 = <&pinctrl_pwm3>;
	#pwm-cells = <3>;
	status = "okay";
};

&pwm4 {
	pinctrl-names = "default";
	pinctrl-0 = <&pinctrl_pwm4>;
	status = "disabled";
};

&sai3 {
	status = "disabled";
};

&uart2 {
	/* console */
	pinctrl-names = "default";
	pinctrl-0 = <&pinctrl_uart2>;
	status = "okay";
};

&uart3 {
	status = "disabled";
};

&uart4 {
	pinctrl-names = "default";
	pinctrl-0 = <&pinctrl_uart4>;
	assigned-clocks = <&clk IMX8MP_CLK_UART4>;
	assigned-clock-parents = <&clk IMX8MP_SYS_PLL1_80M>;
	status = "okay";
};

&usb3_0 {
	/* External USB power switches (U10/U12) drive VBUS via PWR_EN GPIOs;
	 * the SoC must not gate VBUS itself. Clears USB_CTRL0.PORTPWR_EN.
	 */
	fsl,disable-port-power-control;
	status = "okay";
};

&usb3_1 {
	fsl,disable-port-power-control;
	status = "okay";
};

&usb3_phy0 {
	status = "okay";
	vbus-supply = <&reg_usb3_1_vbus>;
};

&usb3_phy1 {
	status = "okay";
	vbus-supply = <&reg_usb3_2_vbus>;
};

&usb_dwc3_0 {
	dr_mode = "host";
	status = "okay";
	pinctrl-names = "default";
	pinctrl-0 = <&pinctrl_usb3_1>;
};

&usb_dwc3_1 {
	dr_mode = "host";
	status = "okay";
	pinctrl-names = "default";
	pinctrl-0 = <&pinctrl_usb3_2>;
};

&usdhc1 {
	status = "okay";
	non-removable;
	bus-width = <8>;
	pinctrl-names = "default", "state_100mhz", "state_200mhz";
	pinctrl-0 = <&pinctrl_usdhc1>;
	pinctrl-1 = <&pinctrl_usdhc1_100mhz>;
	pinctrl-2 = <&pinctrl_usdhc1_200mhz>;
	vmmc-supply = <&reg_vref_3v3>;
	vqmmc-1-8-v;
	vqmmc-supply = <&reg_vref_1v8>;
};

